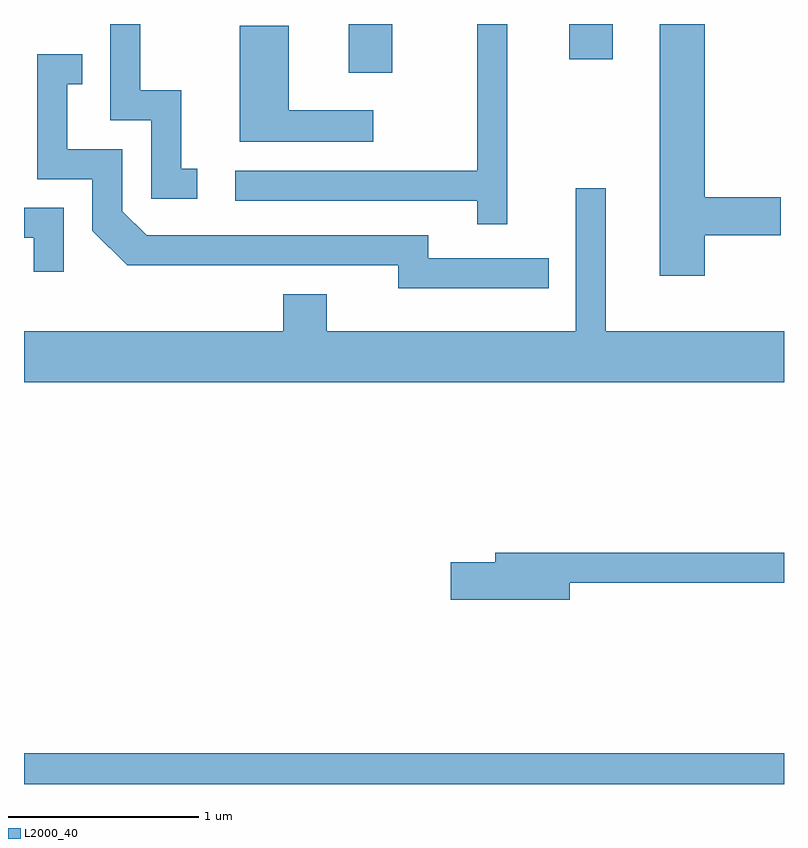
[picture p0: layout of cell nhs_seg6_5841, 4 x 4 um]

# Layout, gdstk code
import gdstk
lib = gdstk.Library(unit=1e-6, precision=1e-09)
def R(c, l, rs):  # rectangles x0, y0, x1, y1
    for r in rs: c.add(gdstk.rectangle(r[:2], r[2:], *l))
def P(c, l, *ps):  # polygons
    for p in ps: c.add(gdstk.Polygon(p, *l))
L2000_40 = (2000, 40)

nhs_seg6_5841 = lib.new_cell('nhs_seg6_5841')
R(nhs_seg6_5841, L2000_40, [(363.611,1530.162,367.611,1530.324), (365.321,1533.906,365.549,1534.162), (366.481,1533.976,366.709,1534.162)])
P(nhs_seg6_5841, L2000_40, [(367.194,1533.051),(367.594,1533.051),(367.594,1533.249),(367.194,1533.249),(367.194,1534.162),(366.956,1534.162),(366.956,1532.836),(367.194,1532.836)],
  [(366.154,1534.162),(365.996,1534.162),(365.996,1533.389),(364.723,1533.389),(364.723,1533.231),(365.996,1533.231),(365.996,1533.108),(366.154,1533.108)],
  [(364.523,1533.399),(364.439,1533.399),(364.439,1533.814),(364.224,1533.814),(364.224,1534.162),(364.066,1534.162),(364.066,1533.656),(364.281,1533.656),(364.281,1533.241),(364.523,1533.241)],
  [(365.448,1533.709),(365.004,1533.709),(365.004,1534.154),(364.746,1534.154),(364.746,1533.541),(365.448,1533.541)],
  [(366.373,1532.929),(365.739,1532.929),(365.739,1533.049),(364.257,1533.049),(364.129,1533.177),(364.129,1533.504),(363.839,1533.504),(363.839,1533.846),(363.918,1533.846),(363.918,1534.004),(363.681,1534.004),(363.681,1533.346),(363.971,1533.346),(363.971,1533.074),(364.154,1532.891),(365.581,1532.891),(365.581,1532.771),(366.373,1532.771)],
  [(367.611,1532.544),(366.674,1532.544),(366.674,1533.298),(366.516,1533.298),(366.516,1532.544),(365.204,1532.544),(365.204,1532.739),(364.976,1532.739),(364.976,1532.544),(363.611,1532.544),(363.611,1532.276),(367.611,1532.276)],
  [(363.819,1533.194),(363.611,1533.194),(363.611,1533.036),(363.661,1533.036),(363.661,1532.858),(363.819,1532.858)],
  [(366.484,1531.221),(367.611,1531.221),(367.611,1531.379),(366.091,1531.379),(366.091,1531.329),(365.856,1531.329),(365.856,1531.131),(366.484,1531.131)])

lib.write_gds('nhs_seg6_5841.gds')
